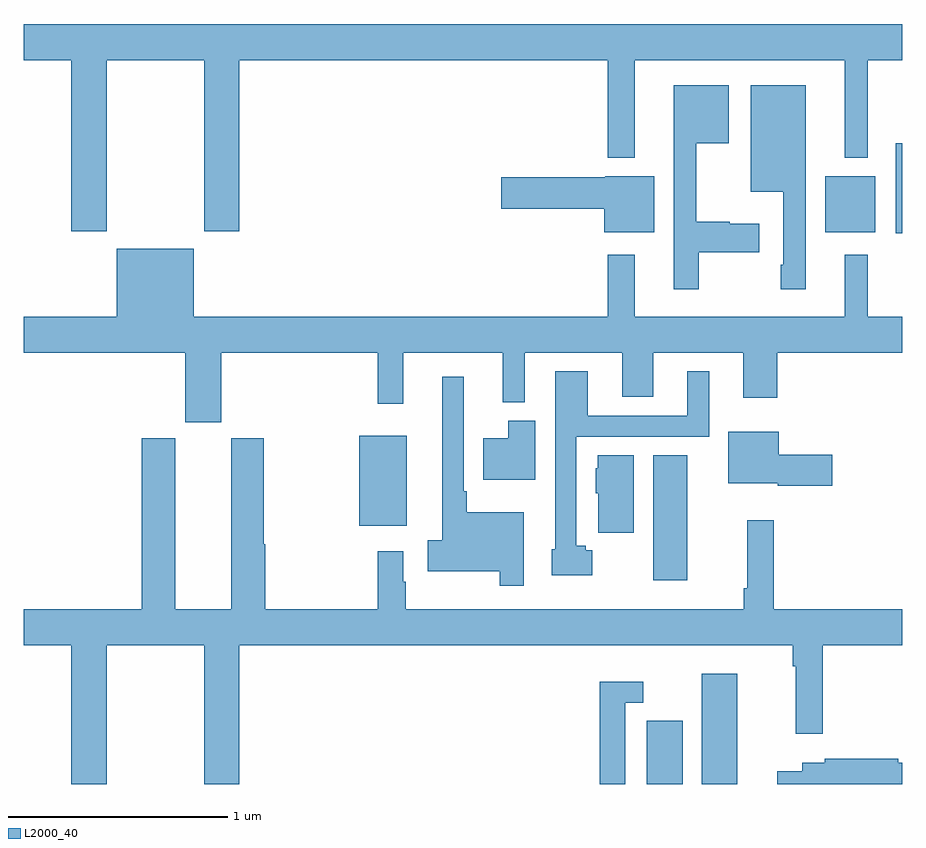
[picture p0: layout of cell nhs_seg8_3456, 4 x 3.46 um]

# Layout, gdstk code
import gdstk
lib = gdstk.Library(unit=1e-6, precision=1e-09)
def R(c, l, rs):  # rectangles x0, y0, x1, y1
    for r in rs: c.add(gdstk.rectangle(r[:2], r[2:], *l))
def P(c, l, *ps):  # polygons
    for p in ps: c.add(gdstk.Polygon(p, *l))
L2000_40 = (2000, 40)

nhs_seg8_3456 = lib.new_cell('nhs_seg8_3456')
R(nhs_seg8_3456, L2000_40, [(327.836,1083.9,328,1084.189), (328.088,1083.9,328.249,1084.402), (327.866,1084.827,328.021,1085.396), (326.528,1085.075,326.743,1085.485), (328.97,1086.407,329,1086.817), (328.649,1086.413,328.876,1086.667)])
P(nhs_seg8_3456, L2000_40, [(325.377,1087.196),(325.822,1087.196),(325.822,1086.417),(325.982,1086.417),(325.982,1087.196),(327.66,1087.196),(327.66,1086.752),(327.781,1086.752),(327.781,1087.196),(328.739,1087.196),(328.739,1086.752),(328.843,1086.752),(328.843,1087.196),(329,1087.196),(329,1087.36),(325,1087.36),(325,1087.196),(325.217,1087.196),(325.217,1086.417),(325.377,1086.417)],
  [(328.073,1086.322),(328.348,1086.322),(328.348,1086.451),(328.214,1086.451),(328.214,1086.459),(328.063,1086.459),(328.063,1086.818),(328.21,1086.818),(328.21,1087.081),(327.959,1087.081),(327.959,1086.153),(328.073,1086.153)],
  [(328.561,1087.081),(328.31,1087.081),(328.31,1086.596),(328.457,1086.596),(328.457,1086.265),(328.447,1086.265),(328.447,1086.153),(328.561,1086.153)],
  [(327.871,1086.667),(327.648,1086.667),(327.648,1086.662),(327.174,1086.662),(327.174,1086.52),(327.644,1086.52),(327.644,1086.413),(327.871,1086.413)],
  [(325.9,1085.864),(326.611,1085.864),(326.611,1085.631),(326.729,1085.631),(326.729,1085.864),(327.182,1085.864),(327.182,1085.639),(327.28,1085.639),(327.28,1085.864),(327.725,1085.864),(327.725,1085.662),(327.865,1085.662),(327.865,1085.864),(328.277,1085.864),(328.277,1085.658),(328.43,1085.658),(328.43,1085.864),(329,1085.864),(329,1086.028),(328.843,1086.028),(328.843,1086.31),(328.739,1086.31),(328.739,1086.028),(327.781,1086.028),(327.781,1086.31),(327.66,1086.31),(327.66,1086.028),(325.774,1086.028),(325.774,1086.337),(325.424,1086.337),(325.424,1086.028),(325,1086.028),(325,1085.864),(325.736,1085.864),(325.736,1085.547),(325.9,1085.547)],
  [(327.589,1084.964),(327.558,1084.964),(327.558,1084.985),(327.516,1084.985),(327.516,1085.481),(328.12,1085.481),(328.12,1085.779),(328.022,1085.779),(328.022,1085.577),(327.568,1085.577),(327.568,1085.779),(327.42,1085.779),(327.42,1085.189),(327.419,1085.189),(327.419,1084.968),(327.404,1084.968),(327.404,1084.85),(327.589,1084.85)],
  [(327.276,1085.137),(327.016,1085.137),(327.016,1085.233),(327.003,1085.233),(327.003,1085.755),(326.906,1085.755),(326.906,1085.009),(326.84,1085.009),(326.84,1084.868),(327.168,1084.868),(327.168,1084.803),(327.276,1084.803)],
  [(327.328,1085.554),(327.206,1085.554),(327.206,1085.473),(327.092,1085.473),(327.092,1085.285),(327.328,1085.285)],
  [(328.681,1085.4),(328.438,1085.4),(328.438,1085.503),(328.208,1085.503),(328.208,1085.27),(328.434,1085.27),(328.434,1085.258),(328.681,1085.258)],
  [(325.946,1084.696),(325.69,1084.696),(325.69,1085.475),(325.538,1085.475),(325.538,1084.696),(325,1084.696),(325,1084.532),(325.217,1084.532),(325.217,1083.9),(325.377,1083.9),(325.377,1084.532),(325.822,1084.532),(325.822,1083.9),(325.982,1083.9),(325.982,1084.532),(328.501,1084.532),(328.501,1084.436),(328.516,1084.436),(328.516,1084.128),(328.637,1084.128),(328.637,1084.532),(329,1084.532),(329,1084.696),(328.415,1084.696),(328.415,1085.101),(328.294,1085.101),(328.294,1084.792),(328.279,1084.792),(328.279,1084.696),(326.74,1084.696),(326.74,1084.82),(326.727,1084.82),(326.727,1084.96),(326.611,1084.96),(326.611,1084.696),(326.099,1084.696),(326.099,1084.992),(326.094,1084.992),(326.094,1085.475),(325.946,1085.475)],
  [(327.778,1085.396),(327.614,1085.396),(327.614,1085.337),(327.605,1085.337),(327.605,1085.223),(327.615,1085.223),(327.615,1085.043),(327.778,1085.043)],
  [(327.738,1084.269),(327.82,1084.269),(327.82,1084.366),(327.622,1084.366),(327.622,1083.9),(327.738,1083.9)],
  [(329,1083.996),(328.982,1083.996),(328.982,1084.016),(328.648,1084.016),(328.648,1083.997),(328.544,1083.997),(328.544,1083.958),(328.43,1083.958),(328.43,1083.9),(329,1083.9)])

lib.write_gds('nhs_seg8_3456.gds')
